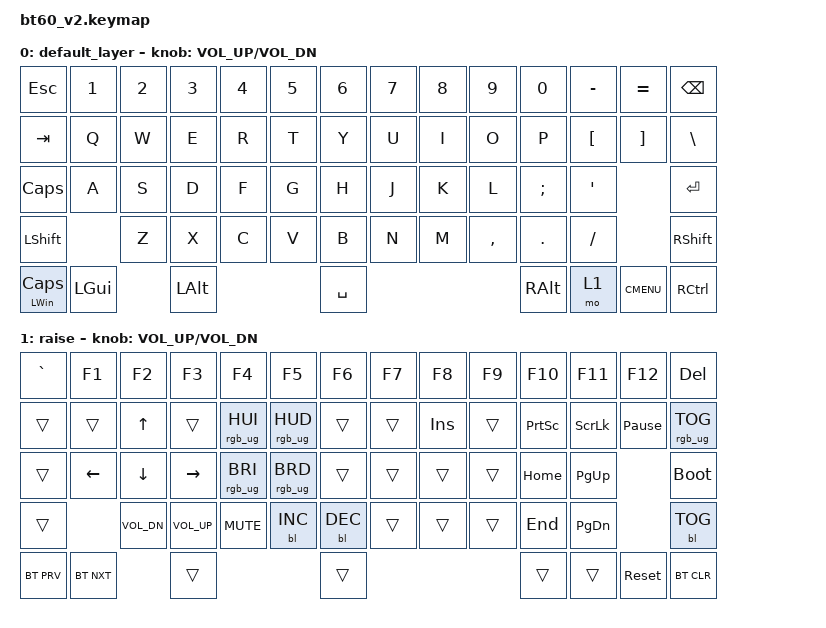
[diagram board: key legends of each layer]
#include <behaviors.dtsi>
#include <dt-bindings/zmk/backlight.h>
#include <dt-bindings/zmk/bt.h>
#include <dt-bindings/zmk/keys.h>
#include <dt-bindings/zmk/rgb.h>

#define ANSI

//#define ISO
//#define ALL_1U
//#define HHKB

/ {
    chosen {
        #ifdef ANSI

        zmk,matrix-transform = &ansi_transform;

        #elif defined(ISO)

        zmk,matrix-transform = &iso_transform;

        #elif defined(ALL_1U)

        zmk,matrix-transform = &all_1u_transform;

        #elif defined(HHKB)

        zmk,matrix-transform = &hhkb_transform;

        #else
  #error "Layout not defined, please define a layout by uncommenting the appropriate line in bt60_v2.keymap"
  #endif
    };

    keymap {
        compatible = "zmk,keymap";

        #ifdef ANSI

        default_layer {
            // ------------------------------------------------------------------------------------------
            // | ESC |  1  |  2  |  3  |  4  |  5  |  6  |  7  |  8  |  9  |  0  |  -  |  =  |   BKSP   |
            // | TAB  |  Q  |  W  |  E  |  R  |  T  |  Y  |  U  |  I  |  O  |  P  |  [  |  ]  |   \     |
            // | CAPS  |  A  |  S  |  D  |  F  |  G  |  H  |  J  |  K  |  L  |  ;  |  '  |     ENTER    |
            // |  SHIFT    |  Z  |  X  |  C  |  V  |  B  |  N  |  M  |  ,  |  .  | /   |      SHIFT     |
            // |  CTL  |  WIN  |  ALT  |            SPACE               | ALT |   1  |  MENU   |  CTRL  |
            // ------------------------------------------------------------------------------------------

            bindings = <
&kp ESC            &kp N1    &kp N2  &kp N3    &kp N4  &kp N5  &kp N6     &kp N7  &kp N8  &kp N9     &kp N0    &kp MINUS  &kp EQUAL    &kp BSPC
&kp TAB            &kp Q     &kp W   &kp E     &kp R   &kp T   &kp Y      &kp U   &kp I   &kp O      &kp P     &kp LBKT   &kp RBKT     &kp BSLH
&kp CAPS           &kp A     &kp S   &kp D     &kp F   &kp G   &kp H      &kp J   &kp K   &kp L      &kp SEMI  &kp SQT                 &kp RET
&kp LSHFT                    &kp Z   &kp X     &kp C   &kp V   &kp B      &kp N   &kp M   &kp COMMA  &kp DOT   &kp FSLH                &kp RSHFT
&mt LEFT_WIN CAPS  &kp LGUI          &kp LALT                  &kp SPACE                             &kp RALT  &mo 1      &kp K_CMENU  &kp RCTRL
            >;

            sensor-bindings = <&inc_dec_kp C_VOL_UP C_VOL_DN>;
        };

        raise {
            // ------------------------------------------------------------------------------------------
            // |GRAVE| F1  | F2  | F3  | F4  | F5  | F6  | F7  | F8  | F9  | F10 | F11 | F12 |    DEL   |
            // | TAB  |  Q  | UP  |  E  | HUI | HUD |  Y  |  U  | INS |  O  |PSCRN| SLCK| P_B |  RGB_TOG|
            // | CAPS  | LEFT| DOWN|RIGHT| BRI | BRD |  H  |  J  |  K  |  L  | HOME| PGUP|     BOOT     |
            // |  SHIFT   |VOLDN|VOLUP| MUTE|BLINC|BLDEC|  N  |  M  |  ,  | END | PGDN |      BL_TOG    |
            // | BT_PRV| BT_NXT|  ALT  |            SPACE               | ALT |   1  |  RESET  | BT_CLR |
            // ------------------------------------------------------------------------------------------

            bindings = <
&kp GRAVE   &kp F1      &kp F2        &kp F3        &kp F4           &kp F5           &kp F6      &kp F7  &kp F8   &kp F9  &kp F10    &kp F11    &kp F12          &kp DEL
&trans      &trans      &kp UP        &trans        &rgb_ug RGB_HUI  &rgb_ug RGB_HUD  &trans      &trans  &kp INS  &trans  &kp PSCRN  &kp SLCK   &kp PAUSE_BREAK  &rgb_ug RGB_TOG
&trans      &kp LEFT    &kp DOWN      &kp RIGHT     &rgb_ug RGB_BRI  &rgb_ug RGB_BRD  &trans      &trans  &trans   &trans  &kp HOME   &kp PG_UP                   &bootloader
&trans                  &kp C_VOL_DN  &kp C_VOL_UP  &kp C_MUTE       &bl BL_INC       &bl BL_DEC  &trans  &trans   &trans  &kp END    &kp PG_DN                   &bl BL_TOG
&bt BT_PRV  &bt BT_NXT                &trans                                          &trans                               &trans     &trans     &sys_reset       &bt BT_CLR
            >;

            sensor-bindings = <&inc_dec_kp C_VOL_UP C_VOL_DN>;
        };

        #elif defined(ISO)

        default_layer {
            // ------------------------------------------------------------------------------------------
            // | ESC |  1  |  2  |  3  |  4  |  5  |  6  |  7  |  8  |  9  |  0  |  -  |  =  |    BKSP   |
            // |   TAB  |  Q  |  W  |  E  |  R  |  T  |  Y  |  U  |  I  |  O  |  P  |  [  |  ]  |        |
            // |  CAPS   |  A  |  S  |  D  |  F  |  G  |  H  |  J  |  K  |  L  |  ;  |  '  |  #  | ENTER |
            // | SHIFT |  \  |  Z  |  X  |  C  |  V  |  B  |  N  |  M  |  ,  |  .  | /   |     SHIFT     |
            // |  CTL  |  WIN  |  ALT  |            SPACE               |  ALT |  1    |  MENU   |  CTRL |
            // ------------------------------------------------------------------------------------------

            bindings = <
&kp ESC    &kp N1     &kp N2           &kp N3    &kp N4  &kp N5  &kp N6    &kp N7  &kp N8  &kp N9    &kp N0     &kp MINUS        &kp EQUAL  &kp BSPC
&kp TAB    &kp Q      &kp W            &kp E     &kp R   &kp T   &kp Y     &kp U   &kp I   &kp O     &kp P      &kp LBKT         &kp RBKT   &kp CAPS
&kp A      &kp S      &kp D            &kp F     &kp G   &kp H   &kp J     &kp K   &kp L   &kp SEMI  &kp SQT    &kp NON_US_HASH             &kp RET
&kp LSHFT             &kp NON_US_BSLH  &kp Z     &kp X   &kp C   &kp V     &kp B   &kp N   &kp M     &kp COMMA  &kp DOT                     &kp FSLH
&kp RSHFT  &kp LCTRL                   &kp LGUI                  &kp LALT                            &kp SPACE  &kp RALT         &mo 1      &kp K_CMENU
            >;

            sensor-bindings = <&inc_dec_kp C_VOL_UP C_VOL_DN>;
        };

        raise {
            // ------------------------------------------------------------------------------------------
            // |GRAVE| F1  | F2  | F3  | F4  | F5  | F6  | F7  | F8  | F9  | F10 | F11 | F12 |    DEL    |
            // | TAB   |  Q  | UP  |  E  | HUI | HUD |  Y  |  U  | INS |  O  |PSCRN| SLCK| P_B |         |
            // | CAPS   | LEFT| DOWN|RIGHT| BRI | BRD |  H  |  J  |  K  |  L  | HOME| PGUP|RGB_TOG| BOOT |
            // | SHIFT |VOLDN|VOLUP| MUTE|BLINC|BLDEC|  B  |  N  |  M  |  ,  | END | PGDN |    BL_TOG    |
            // | BT_PRV| BT_NXT|  ALT  |            SPACE               |  ALT |  1    |  RESET  |BT_CLR |
            // ------------------------------------------------------------------------------------------

            bindings = <
&kp GRAVE   &kp F1      &kp F2        &kp F3           &kp F4           &kp F5           &kp F6      &kp F7  &kp F8   &kp F9    &kp F10    &kp F11          &kp F12          &kp DEL
&trans      &trans      &kp UP        &trans           &rgb_ug RGB_HUI  &rgb_ug RGB_HUD  &trans      &trans  &kp INS  &trans    &kp PSCRN  &kp SLCK         &kp PAUSE_BREAK  &trans
&kp LEFT    &kp DOWN    &kp RIGHT     &rgb_ug RGB_BRI  &rgb_ug RGB_BRD  &trans           &trans      &trans  &trans   &kp HOME  &kp PG_UP  &rgb_ug RGB_TOG                   &bootloader
&trans                  &kp C_VOL_DN  &kp C_VOL_UP     &kp C_MUTE       &bl BL_INC       &bl BL_DEC  &trans  &trans   &trans    &trans     &kp END                           &kp PG_DN
&bl BL_TOG  &bt BT_PRV                &bt BT_NXT                                         &trans                                 &trans     &trans           &trans           &sys_reset
            >;

            sensor-bindings = <&inc_dec_kp C_VOL_UP C_VOL_DN>;
        };

        #elif defined(ALL_1U)

        default_layer {
            // ------------------------------------------------------------------------------------------
            // | ESC |  1  |  2  |  3  |  4  |  5  |  6  |  7  |  8  |  9  |  0  |  -  |  =  |BKSP | DEL |
            // | TAB   |  Q  |  W  |  E  |  R  |  T  |  Y  |  U  |  I  |  O  |  P  |  [  |  ]  |    \    |
            // | CAPS   |  A  |  S  |  D  |  F  |  G  |  H  |  J  |  K  |  L  |  ;  |  '  |     ENTER    |
            // | SHFT  |NONE|  Z  |  X  |  C  |  V  |  B  |  N  |  M  |  ,  |  .  | /   | SHFT | UP |  1 |
            // |  CTL  |  WIN  |  ALT  |           SPACE              | RALT| CTRL | LEFT | DOWN | RIGHT |
            // ------------------------------------------------------------------------------------------

            bindings = <
&kp ESC   &kp N1     &kp N2     &kp N3  &kp N4  &kp N5  &kp N6  &kp N7  &kp N8  &kp N9  &kp N0     &kp MINUS  &kp EQUAL  &kp BSPC
&kp DEL   &kp TAB    &kp Q      &kp W   &kp E   &kp R   &kp T   &kp Y   &kp U   &kp I   &kp O      &kp P      &kp LBKT   &kp RBKT
&kp BSLH  &kp CLCK   &kp A      &kp S   &kp D   &kp F   &kp G   &kp H   &kp J   &kp K   &kp L      &kp SEMI              &kp SQT
&kp RET              &kp LSHFT  &none   &kp Z   &kp X   &kp C   &kp V   &kp B   &kp N   &kp M      &kp COMMA             &kp DOT
&kp FSLH  &kp RSHFT             &kp UP                  &mo 1                           &kp LCTRL  &kp LGUI   &kp LALT   &kp SPACE
            >;

            sensor-bindings = <&inc_dec_kp C_VOL_UP C_VOL_DN>;
        };

        raise {
            // ------------------------------------------------------------------------------------------
            // |GRAVE| F1  | F2  | F3  | F4  | F5  | F6  | F7  | F8  | F9  | F10 | F11 | F12 |BKSP | DEL |
            // | TAB  |  Q  |  W  |  E  | HUI | HUD |  Y  |  U  | INS |  O  |PSCRN| SLCK| P_B | RGB_TOG  |
            // | CAPS  |  A  |  S  |  D  | BRI | BRD |  H  |  J  |  K  |  L  | HOME| PGUP|      BOOT     |
            // | SHFT |NONE|VOLDN|VOLUP|MUTE|BLINC|BLDEC|  N  |  M  |  ,  | END | PGDN | SHFT|BL_TOG| 1  |
            // | BT_PRV| BT_NXT|  ALT  |           SPACE              | RALT| CTRL | LEFT |RESET| BT_CLR |
            // ------------------------------------------------------------------------------------------

            bindings = <
&kp GRAVE        &kp F1  &kp F2  &kp F3      &kp F4        &kp F5           &kp F6           &kp F7      &kp F8      &kp F9   &kp F10     &kp F11     &kp F12   &trans
&trans           &trans  &trans  &trans      &trans        &rgb_ug RGB_HUI  &rgb_ug RGB_HUD  &trans      &trans      &kp INS  &trans      &kp PSCRN   &kp SLCK  &kp PAUSE_BREAK
&rgb_ug RGB_TOG  &trans  &trans  &trans      &trans        &rgb_ug RGB_BRI  &rgb_ug RGB_BRD  &trans      &trans      &trans   &trans      &kp HOME              &kp PG_UP
&bootloader              &trans  &none       &kp C_VOL_DN  &kp C_VOL_UP     &kp C_MUTE       &bl BL_INC  &bl BL_DEC  &trans   &trans      &trans                &kp END
&kp PG_DN        &trans          &bl BL_TOG                                 &trans                                            &bt BT_PRV  &bt BT_NXT  &trans    &trans
            >;

            sensor-bindings = <&inc_dec_kp C_VOL_UP C_VOL_DN>;
        };

        #elif defined(HHKB)

        default_layer {
            // ------------------------------------------------------------------------------------------
            // | ESC |  1  |  2  |  3  |  4  |  5  |  6  |  7  |  8  |  9  |  0  |  -  |  =  |   BKSP   |
            // | TAB  |  Q  |  W  |  E  |  R  |  T  |  Y  |  U  |  I  |  O  |  P  |  [  |  ]  |   \     |
            // | CAPS  |  A  |  S  |  D  |  F  |  G  |  H  |  J  |  K  |  L  |  ;  |  '  |     ENTER    |
            // |  SHIFT    |  Z  |  X  |  C  |  V  |  B  |  N  |  M  |  ,  |  .  | /   |      SHIFT     |
            // |  CTL   |   WIN  |   ALT  |              SPACE                |  ALT  |   1    |  CTRL  |
            // ------------------------------------------------------------------------------------------

            bindings = <
&kp ESC    &kp N1    &kp N2  &kp N3    &kp N4  &kp N5  &kp N6     &kp N7  &kp N8  &kp N9     &kp N0    &kp MINUS  &kp EQUAL  &kp BSPC
&kp TAB    &kp Q     &kp W   &kp E     &kp R   &kp T   &kp Y      &kp U   &kp I   &kp O      &kp P     &kp LBKT   &kp RBKT   &kp BSLH
&kp CAPS   &kp A     &kp S   &kp D     &kp F   &kp G   &kp H      &kp J   &kp K   &kp L      &kp SEMI  &kp SQT               &kp RET
&kp LSHFT            &kp Z   &kp X     &kp C   &kp V   &kp B      &kp N   &kp M   &kp COMMA  &kp DOT   &kp FSLH              &kp RSHFT
&kp LCTRL  &kp LGUI          &kp LALT                  &kp SPACE                             &kp RALT  &mo 1      &kp RCTRL
            >;

            sensor-bindings = <&inc_dec_kp C_VOL_UP C_VOL_DN>;
        };

        raise {
            // ------------------------------------------------------------------------------------------
            // |GRAVE| F1  | F2  | F3  | F4  | F5  | F6  | F7  | F8  | F9  | F10 | F11 | F12 |    DEL   |
            // | TAB  |  Q  | UP  |  E  | HUI | HUD |  Y  |  U  | INS |  O  |PSCRN| SLCK| P_B |  RGB_TOG|
            // | CAPS  | LEFT| DOWN|RIGHT| BRI | BRD |  H  |  J  |  K  |  L  | HOME| PGUP|     BOOT     |
            // |  SHFT    |VOLDN|VOLUP| MUTE|BLINC|BLDEC|  N  |  M  |  ,  | END | PGDN |      BL_TOG    |
            // | BT_PRV | BT_NXT |   ALT  |             SPACE                | RESET |   1    |  BT_CLR |
            // ------------------------------------------------------------------------------------------

            bindings = <
&kp GRAVE   &kp F1      &kp F2        &kp F3        &kp F4           &kp F5           &kp F6      &kp F7  &kp F8   &kp F9  &kp F10     &kp F11    &kp F12          &kp DEL
&trans      &trans      &kp UP        &trans        &rgb_ug RGB_HUI  &rgb_ug RGB_HUD  &trans      &trans  &kp INS  &trans  &kp PSCRN   &kp SLCK   &kp PAUSE_BREAK  &rgb_ug RGB_TOG
&trans      &kp LEFT    &kp DOWN      &kp RIGHT     &rgb_ug RGB_BRI  &rgb_ug RGB_BRD  &trans      &trans  &trans   &trans  &kp HOME    &kp PG_UP                   &bootloader
&trans                  &kp C_VOL_DN  &kp C_VOL_UP  &kp C_MUTE       &bl BL_INC       &bl BL_DEC  &trans  &trans   &trans  &kp END     &kp PG_DN                   &bl BL_TOG
&bt BT_PRV  &bt BT_NXT                &trans                                          &trans                               &sys_reset  &trans     &bt BT_CLR
            >;

            sensor-bindings = <&inc_dec_kp C_VOL_UP C_VOL_DN>;
        };

        #else
    #error "Layout not defined, please define a layout by uncommenting the appropriate line in bt60_v2.keymap"
    #endif
    };
};
